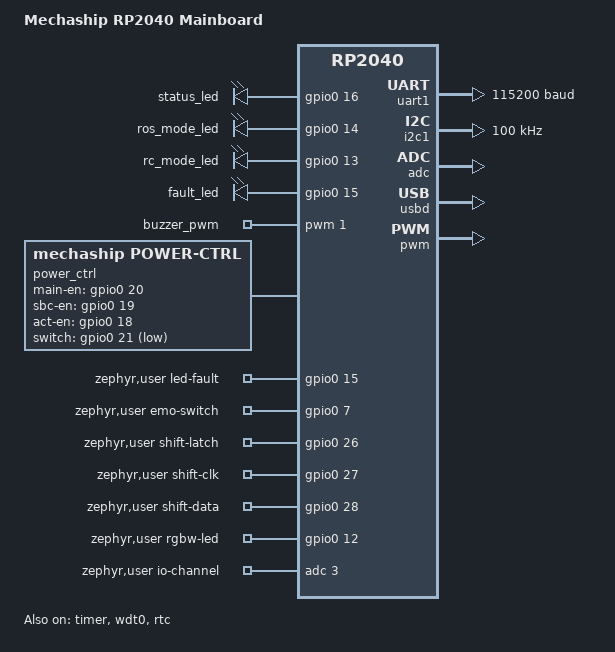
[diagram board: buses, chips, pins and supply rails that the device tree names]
/*
 * SPDX-License-Identifier: Apache-2.0
 */

/dts-v1/;

#include <freq.h>
#include <zephyr/dt-bindings/gpio/gpio.h>
#include <zephyr/dt-bindings/i2c/i2c.h>
#include <zephyr/dt-bindings/pwm/pwm.h>

#include <raspberrypi/rpi_pico/rp2040.dtsi>
#include "mechaship_rp2040-pinctrl.dtsi"

/ {
	model = "Mechaship RP2040 Mainboard";
	compatible = "mechaship,mechaship-rp2040";

	chosen {
		zephyr,sram = &sram0;
		zephyr,flash = &flash0;
		zephyr,flash-controller = &ssi;
		zephyr,console = &uart1;
		zephyr,shell-uart = &uart1;
		zephyr,code-partition = &code_partition;
	};

	aliases {
		rtc = &rtc;
		watchdog0 = &wdt0;
	};

	leds {
		compatible = "gpio-leds";

		status_led: status_led {
			gpios = <&gpio0 16 GPIO_ACTIVE_HIGH>;
		};

		ros_mode_led: ros_mode_led {
			gpios = <&gpio0 14 GPIO_ACTIVE_HIGH>;
		};

		rc_mode_led: rc_mode_led {
			gpios = <&gpio0 13 GPIO_ACTIVE_HIGH>;
		};

		fault_led: fault_led {
			gpios = <&gpio0 15 GPIO_ACTIVE_HIGH>;
		};
	};

	pwms {
		compatible = "pwm-leds";
		status = "okay";

		buzzer_pwm: buzzer_pwm {
			pwms = <&pwm 1 PWM_HZ(1000) PWM_POLARITY_NORMAL>;
		};
	};

	power_ctrl: power_ctrl {
		compatible = "mechaship,power-ctrl";
		
		main-en-gpios = <&gpio0 20 GPIO_ACTIVE_HIGH>;
		sbc-en-gpios = <&gpio0 19 GPIO_ACTIVE_HIGH>;
		act-en-gpios = <&gpio0 18 GPIO_ACTIVE_HIGH>;
		switch-gpios = <&gpio0 21 GPIO_ACTIVE_LOW>;
	};

	actuators: actuators {
		compatible = "mechaship,actuators";

		key: key {
			compatible = "mechaship,actuator-key";

			pwms = <&pwm 6 PWM_HZ(50) PWM_POLARITY_NORMAL>;
			pulse-0-degree-us = <500>;
			pulse-180-degree-us = <2500>;
		};

		thruster: thruster {
			compatible = "mechaship,actuator-thruster";

			pwms = <&pwm 7 PWM_HZ(50) PWM_POLARITY_NORMAL>;
			pulse-0-percent-us = <1500>;
			pulse-100-percent-us = <1900>;
		};
	};

	rc_4ch_receiver: rc_4ch_receiver {
		compatible = "mechaship,fs-r4p-rp2040";
		status = "okay";
		pio = <&pio1>;
		#address-cells = <1>;
		#size-cells = <0>;

		channel@0 {
			reg = <0>;
			function = "steering";
			input-gpios = <&gpio0 4 GPIO_ACTIVE_HIGH>;

			min-pulse-us = <905>;
			mid-pulse-us = <1500>;
			max-pulse-us = <2095>;
			pulse-margin-us = <5>;
		};

		channel@1 {
			reg = <1>;
			function = "throttle";
			input-gpios = <&gpio0 3 GPIO_ACTIVE_HIGH>;

			min-pulse-us = <1020>;
			mid-pulse-us = <1500>;
			max-pulse-us = <1980>;
			pulse-margin-us = <5>;
		};

		channel@2 {
			reg = <2>;
			function = "aux1";
			input-gpios = <&gpio0 5 GPIO_ACTIVE_HIGH>;

			min-pulse-us = <1000>;
			mid-pulse-us = <1500>;
			max-pulse-us = <2000>;
			pulse-margin-us = <10>;
		};

		channel@3 {
			reg = <3>;
			function = "switch";
			input-gpios = <&gpio0 6 GPIO_ACTIVE_HIGH>;

			default-pulse-us = <1000>;
			clicked-pulse-us = <2000>;
			pulse-margin-us = <20>;
		};
	};

	zephyr,user {
		debug-uart = <&uart1>;
		debug-baudrate = <115200>;

		led-fault-gpios = <&gpio0 15 GPIO_ACTIVE_HIGH>;

		emo-switch-gpios = <&gpio0 7 GPIO_ACTIVE_HIGH>;

		shift-latch-gpios = <&gpio0 26 GPIO_ACTIVE_HIGH>;
		shift-clk-gpios = <&gpio0 27 GPIO_ACTIVE_HIGH>;
		shift-data-gpios = <&gpio0 28 GPIO_ACTIVE_HIGH>;

		lcd-i2c = <&i2c1>;
		lcd-addr = <0x27>;

		io-channels = <&adc 3>;
		battery-cell-count = <3>;
		battery-total-low-alert-mv = <9300>;
		battery-divider-milli = <4300>;

		rgbw-led-gpios = <&gpio0 12 GPIO_ACTIVE_HIGH>;
		rgbw-led-pixel-count = <9>;


	};

};

&flash0 {
	reg = <0x10000000 DT_SIZE_M(16)>;

	partitions {
		compatible = "fixed-partitions";
		#address-cells = <1>;
		#size-cells = <1>;

		second_stage_bootloader: partition@0 {
			label = "second_stage_bootloader";
			reg = <0x00000000 0x100>;
			read-only;
		};

		code_partition: partition@100 {
			label = "code-partition";
			reg = <0x100 (DT_SIZE_M(16) - 0x100)>;
			read-only;
		};
	};
};

&uart0 {
	status = "disabled";
};

&uart1 {
	current-speed = <115200>;
	status = "okay";
	pinctrl-0 = <&uart1_default>;
	pinctrl-names = "default";
};

&gpio0 {
	status = "okay";
};

&i2c0 {
	status = "disabled";
};

&i2c1 {
	clock-frequency = <I2C_BITRATE_STANDARD>;
	status = "okay";
	pinctrl-0 = <&i2c1_default>;
	pinctrl-names = "default";
};

&spi0 {
	status = "disabled";
};

&timer {
	status = "okay";
};

&wdt0 {
	status = "okay";
};

&rtc {
	clocks = <&clocks RPI_PICO_CLKID_CLK_RTC>;
	status = "okay";
};

&adc {
	status = "okay";
	pinctrl-0 = <&adc_default>;
	pinctrl-names = "default";
};

zephyr_udc0: &usbd {
	status = "okay";
};

&pwm {
	status = "okay";
	pinctrl-0 = <&pwm_default>;
	pinctrl-names = "default";
};

&vreg {
	regulator-always-on;
	regulator-allowed-modes = <REGULATOR_RPI_PICO_MODE_NORMAL>;
};

&pio1 {
	status = "okay";
};
